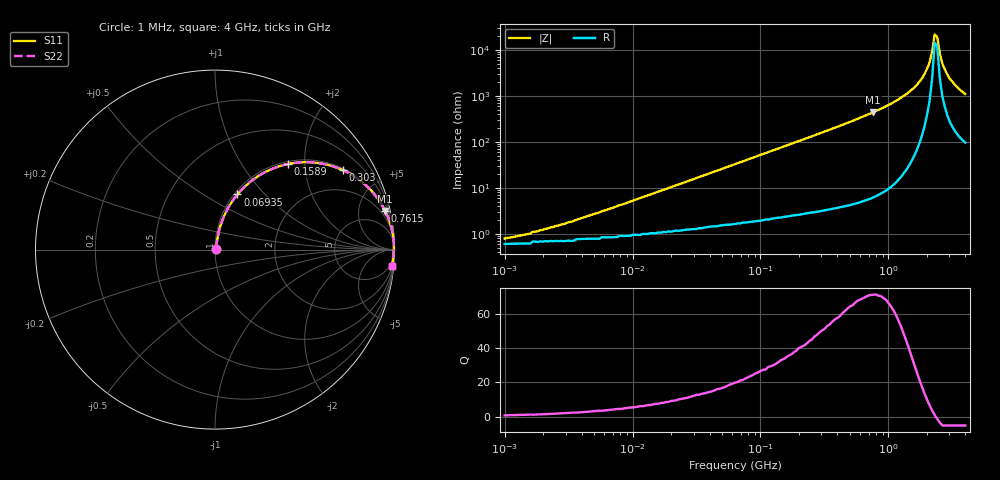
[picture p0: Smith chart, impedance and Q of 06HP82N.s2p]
# MHz S MA R 50
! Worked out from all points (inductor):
!   181 points, 1 MHz to 4 GHz, reference 50 ohm
!   read as one part in series: L = 82.2 nH near 4.575 MHz
!   highest Q = 71 at 761.5 MHz (marker M1), where L = 91.5 nH
!   self-resonance near 2.301 GHz
!   S11 on the Smith chart (normalised r, x): 1 MHz: 1.01, +0.01; 69.35 MHz: 1.03, +0.72; 158.9 MHz: 1.05, +1.65; 303 MHz: 1.06, +3.18; 761.5 MHz: 1.12, +8.77; 4 GHz: 3, -22
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1  0.007936 39.9  0.994 -0.3  0.994 -0.3  0.007936 39.9
1.82  0.011 54.2  0.993 -0.5  0.993 -0.5  0.011 54.2
4.172  0.023 69.2  0.992 -1.2  0.992 -1.2  0.023 69.2
16.623  0.085 78.0  0.986 -4.8  0.986 -4.8  0.085 78.0
63.246  0.306 69.3  0.937 -17.8  0.937 -17.8  0.306 69.3
69.351  0.332 67.9  0.928 -19.4  0.928 -19.4  0.332 67.9
158.949  0.627 49.6  0.761 -38.8  0.761 -38.8  0.627 49.6
263.867  0.801 35.6  0.582 -53.2  0.582 -53.2  0.801 35.6
302.984  0.839 31.9  0.528 -57.0  0.528 -57.0  0.839 31.9
761.462  0.972 12.8  0.222 -76.4  0.222 -76.4  0.972 12.8
1003.961  0.985 9.0  0.156 -80.2  0.156 -80.2  0.985 9.0
1386.107  0.994 5.2  0.091 -83.5  0.091 -83.5  0.994 5.2
1827.534  0.997 2.4  0.042 -84.3  0.042 -84.3  0.997 2.4
2098.456  0.997 1.1  0.019 -80.5  0.019 -80.5  0.997 1.1
2197.411  0.997 0.6  0.011 -74.5  0.011 -74.5  0.997 0.6
2301.032  0.997 0.2  0.004658 -47.7  0.004658 -47.7  0.997 0.2
2409.54  0.997 -0.2  0.005304 50.8  0.005304 50.8  0.997 -0.2
2523.164  0.996 -0.7  0.012 72.3  0.012 72.3  0.996 -0.7
2642.147  0.996 -1.1  0.02 77.6  0.02 77.6  0.996 -1.1
2897.209  0.995 -2.0  0.035 80.6  0.035 80.6  0.995 -2.0
3326.704  0.993 -3.3  0.058 81.0  0.058 81.0  0.993 -3.3
4000  0.988 -5.2  0.091 79.7  0.091 79.7  0.988 -5.2
